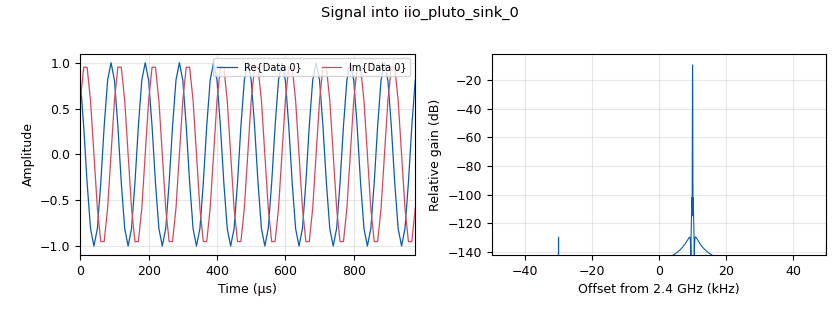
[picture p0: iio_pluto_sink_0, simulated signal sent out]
options:
  parameters:
    author: finnb
    generate_options: qt_gui
    id: basic
    output_language: python
    title: Not titled yet
  states: {}

blocks:
- name: LO
  id: variable
  parameters:
    value: '2400000000'
  states: {}
- name: RX_IIO
  id: variable
  parameters:
    value: '"TODO"'
  states: {}
- name: TX_IIO
  id: variable
  parameters:
    value: '"TODO"'
  states: {}
- name: rx_gain
  id: variable_qtgui_range
  parameters:
    start: '0'
    step: '1'
    stop: '100'
    value: '10'
  states: {}
- name: samp_rate
  id: variable
  parameters:
    value: '100000'
  states: {}
- name: tone
  id: variable
  parameters:
    value: '10000'
  states: {}
- name: tx_attenuation
  id: variable_qtgui_range
  parameters:
    start: '0'
    step: '1'
    stop: '100'
    value: '50'
  states: {}
- name: analog_sig_source_x_0
  id: analog_sig_source_x
  parameters:
    amp: '1'
    freq: tone
    offset: '0'
    phase: '0'
    samp_rate: samp_rate
    type: complex
    waveform: analog.GR_COS_WAVE
  states: {}
- name: iio_pluto_sink_0
  id: iio_pluto_sink
  parameters:
    attenuation1: tx_attenuation
    bandwidth: '20000000'
    buffer_size: '32768'
    cyclic: 'False'
    filter_source: '''Auto'''
    frequency: LO
    samplerate: samp_rate
    type: fc32
    uri: TX_IIO
  states: {}
- name: iio_pluto_source_0
  id: iio_pluto_source
  parameters:
    bandwidth: '20000000'
    bbdc: 'True'
    buffer_size: '32768'
    filter_source: '''Auto'''
    frequency: LO
    gain1: '''manual'''
    manual_gain1: rx_gain
    quadrature: 'True'
    rfdc: 'True'
    samplerate: samp_rate
    type: fc32
    uri: RX_IIO
  states: {}
- name: qtgui_freq_sink_x_0
  id: qtgui_freq_sink_x
  parameters:
    bw: samp_rate
    fc: '0'
    fftsize: '1024'
    type: complex
  states: {}
- name: qtgui_time_sink_x_0
  id: qtgui_time_sink_x
  parameters:
    size: '1024'
    srate: samp_rate
    type: complex
  states: {}

connections:
- [analog_sig_source_x_0, '0', iio_pluto_sink_0, '0']
- [iio_pluto_source_0, '0', qtgui_freq_sink_x_0, '0']
- [iio_pluto_source_0, '0', qtgui_time_sink_x_0, '0']

metadata:
  file_format: 1
  grc_version: 3.10.12.0
